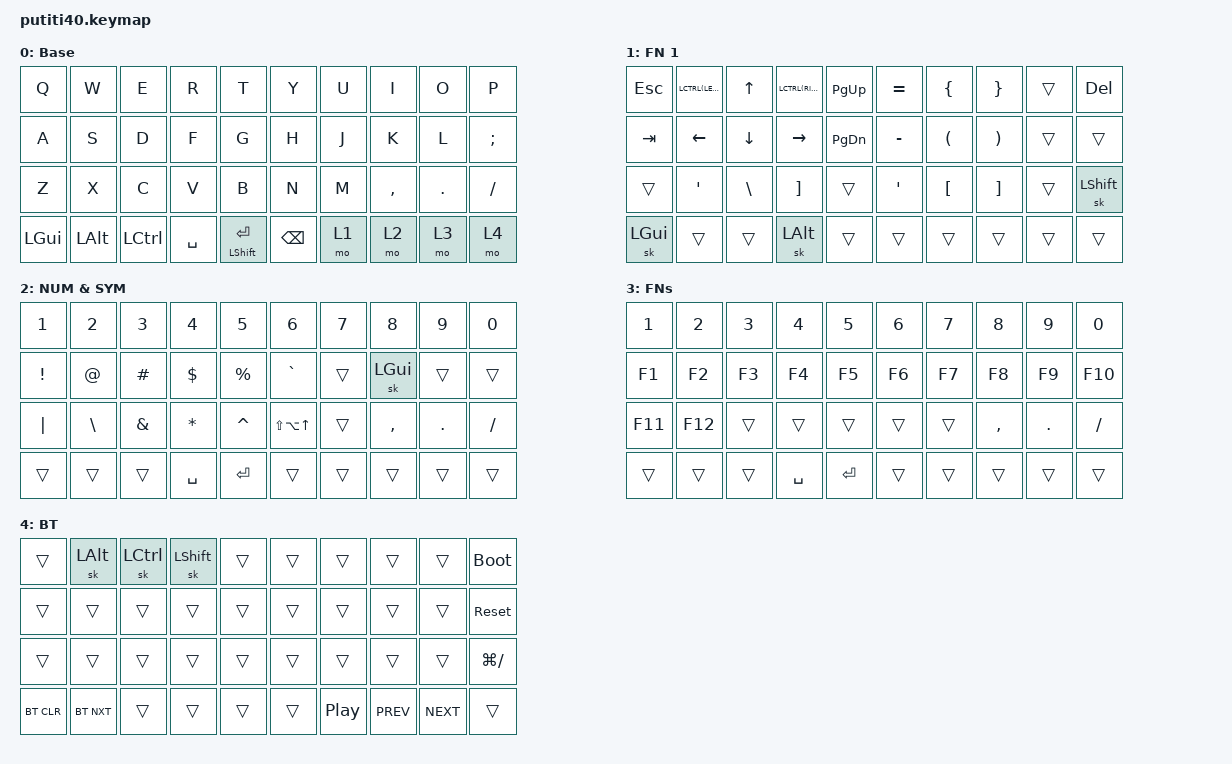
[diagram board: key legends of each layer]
#include <behaviors.dtsi>
#include <dt-bindings/zmk/bt.h>
#include <dt-bindings/zmk/keys.h>

#define DEFAULT 0
#define LOWER 1
#define RAISE 2
#define TOGGLE 3
#define L4 4

&lt {
        flavor = "balanced";
        tapping-term-ms = <150>;
};

/ {
        behaviors {
                mo_tog: behavior_mo_tog {
                        compatible = "zmk,behavior-hold-tap";
                        display-name = "mo_tog";
                        flavor = "hold-preferred";
                        #binding-cells = <2>;
                        tapping-term-ms = <200>;
                        bindings = <&mo>, <&tog>;
                };        
        };


	keymap {
		compatible = "zmk,keymap";
		qwert_layer {
                        display-name = "Base";
			bindings = <
                &kp Q     &kp W    &kp E     &kp R      &kp T            &kp Y     &kp U   &kp I      &kp O   &kp P
                &kp A     &kp S    &kp D     &kp F      &kp G            &kp H     &kp J   &kp K      &kp L   &kp SEMI
                &kp Z     &kp X    &kp C     &kp V      &kp B            &kp N     &kp M   &kp COMMA  &kp DOT &kp FSLH
                &kp LGUI  &kp LALT &kp LCTRL &kp SPACE  &mt LSHFT ENTER  &kp BSPC  &mo 1   &mo 2      &mo 3   &mo 4
			>;
		};

		lower_layer {
                        display-name = "FN 1";
			bindings = <
                &kp ESC   &kp LCTRL(LEFT) &kp UP    &kp LCTRL(RIGHT) &kp PG_UP      &kp EQUAL   &kp LBRC   &kp RBRC   &trans   &kp DEL    
                &kp TAB   &kp LEFT        &kp DOWN  &kp RIGHT        &kp PAGE_DOWN  &kp MINUS   &kp LPAR   &kp RPAR   &trans   &trans     
                &trans    &kp SQT         &kp BSLH  &kp RBKT         &trans         &kp SQT     &kp LBKT   &kp RBKT   &trans   &sk LSHFT 
                &sk LGUI  &trans          &trans    &sk LALT         &trans         &trans      &trans     &trans     &trans   &trans      
                        >; 
                };

		raise_layer {
                        display-name = "NUM & SYM";
			bindings = <
                &kp N1     &kp N2     &kp N3     &kp N4     &kp N5     &kp N6          &kp N7   &kp N8      &kp N9    &kp N0
                &kp EXCL   &kp AT     &kp HASH   &kp DLLR   &kp PRCNT  &kp GRAVE       &trans   &sk LGUI    &trans    &trans  
                &kp PIPE   &kp BSLH   &kp AMPS   &kp STAR   &kp CARET  &kp LS(LA(UP))  &trans   &kp COMMA   &kp DOT   &kp FSLH  
                &trans     &trans     &trans     &kp SPACE  &kp ENTER  &trans          &trans   &trans      &trans    &trans      
                        >;
		};

		layer_3 {
                        display-name = "FNs";
			bindings = <
                &kp N1   &kp N2   &kp N3   &kp N4    &kp N5     &kp N6   &kp N7   &kp N8     &kp N9   &kp N0
                &kp F1   &kp F2   &kp F3   &kp F4    &kp F5     &kp F6   &kp F7   &kp F8     &kp F9   &kp F10
                &kp F11  &kp F12  &trans   &trans    &trans     &trans   &trans   &kp COMMA  &kp DOT  &kp FSLH
                &trans   &trans   &trans   &kp SPACE &kp ENTER  &trans   &trans   &trans     &trans   &trans
                        >;
                };

                layer_4 {
                        display-name = "BT";
        		bindings = <
                &trans      &sk LALT    &sk LCTRL  &sk LSHFT  &trans  &trans   &trans    &trans      &trans      &bootloader  
                &trans      &trans      &trans     &trans     &trans  &trans   &trans    &trans      &trans      &sys_reset      
                &trans      &trans      &trans     &trans     &trans  &trans   &trans    &trans      &trans      &kp LG(FSLH)
                &bt BT_CLR  &bt BT_NXT  &trans     &trans     &trans  &trans   &kp C_PP  &kp C_PREV  &kp C_NEXT  &trans
                        >;
                };
        };
};
